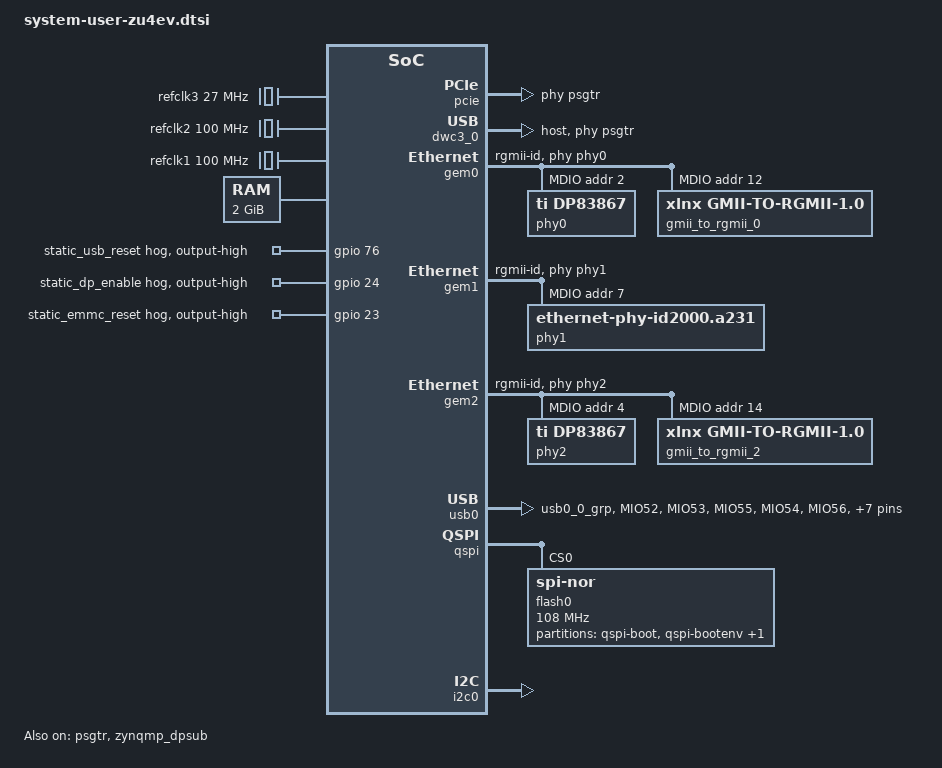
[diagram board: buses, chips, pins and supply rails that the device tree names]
/include/ "system-conf.dtsi"

#include <dt-bindings/phy/phy.h>
#include <dt-bindings/gpio/gpio.h>
#include <dt-bindings/net/ti-dp83867.h>
#include <dt-bindings/pinctrl/pinctrl-zynqmp.h>

/ {
    options {
        u-boot {
            // Mark the node for deletion
            /delete-property/ bootscr-address;
            /delete-property/ compatible;
        };
    };
        refclk3:psgtr_dp_clock {
                compatible = "fixed-clock";
                #clock-cells = <0x00>;
                clock-frequency = <27000000>;
                };
        refclk2:psgtr_usb_clock {
                compatible = "fixed-clock";
                #clock-cells = <0x00>;
                clock-frequency = <100000000>;
                };
        refclk1:psgtr_pcie_clock {
                compatible = "fixed-clock";
                #clock-cells = <0x00>;
                clock-frequency = <100000000>;
                };
	memory@0 {
                device_type = "memory";
                reg = <0x0 0x0 0x0 0x7ff00000>;
        };
};

&psgtr {
        status = "okay";
        clocks = <&refclk1 &refclk1 &refclk2 &refclk3>;
        /* ref clk instances used per lane */
        clock-names = "ref0\0ref1\0ref2\0ref3";
};

/* PCIE instance 0, 1 at lane 0 and 1 refclk 100MHZ */
&pcie {
        status = "okay";
        phys = <&psgtr 0x0 PHY_TYPE_PCIE 0 0>,<&psgtr 0x1 PHY_TYPE_PCIE 1 1>;
};

/* USB  instance 0 lane 2 refclk 100MHZ */
&dwc3_0 {
                status = "okay";
                dr_mode = "host";
                snps,usb3_lpm_capable;
                phy-names = "usb3-phy";
                phys = <&psgtr 0x2 PHY_TYPE_USB3 0x00 2>;
                maximum-speed = "super-speed";
};

/* DP instance 0 lane 3 refclk 27MHZ */
&zynqmp_dpsub {
        status = "okay";
        phy-names = "dp-phy0";
        phys = <&psgtr 0x3 PHY_TYPE_DP 0x00 3>;
};

&axi_epc_0{
        #address-cells = <1>;
        #size-cells = <2>;
        ranges = <0 0 0xa0000000 0x00100000 1 0 0xa0100000 0x00100000>;

        cs2@0,0{
                compatible = "pdnabus_cs2";
                reg = <0 0 0x00100000>;
                interrupt-parent = <&gic>;
                interrupts = <0 92 4>; //only comment out for DW
        };
        // cs3@1,0{
        //      compatible = "pdnabus_cs3";
        //      reg = <1 0 0x00100000>;
        //      interrupt-parent = <&gic>;
        //      interrupts = <0 0x38 4>;
        // };

};

/ {
        //RTC located on PWR board
        pdna_rtc: pdna_rtc@a00D0000 {
                compatible = "uei,pdna-rtc";
                reg = <0x0 0xa00d0000 0x0 0x2100>;
        };
};

&rtc {
        status = "disabled";
};

/* GEM0 + GMII2RGMII wrapper */
&gem0 {
        phy-handle = <&phy0>;
        status = "okay";
        xlnx,has-mdio = <0x1>;

        phy-mode = "rgmii-id";
        gmii2rgmii-phy-handle = <&gmii_to_rgmii_0>;
        xlnx,ptp-enet-clock = <0x0>;
        tsu_clk=<250000000>; //250MHz provided by IOPLL

        psu_ethernet_0_mdio: mdio {
                #address-cells = <1>;
                #size-cells = <0>;
                phy0: ethernet-phy@2 {
                        compatible = "ti,dp83867", "ethernet-phy-ieee802.3-c22";
                        device-type = "ethernet-phy";
                        reg = <0x02>;
                        ti,rx-internal-delay = <DP83867_RGMIIDCTL_2_75_NS>;
                        ti,tx-internal-delay = <DP83867_RGMIIDCTL_2_75_NS>;
                        ti,fifo-depth = <DP83867_PHYCR_FIFO_DEPTH_4_B_NIB>;
                        ti,dp83867-rxctrl-strap-quirk = <1>;
                };
                gmii_to_rgmii_0: gmii_to_rgmii_0@12 {
                        compatible = "xlnx,gmii-to-rgmii-1.0";
                        phy-handle = <&phy0>;
                        reg = <0x0c>;
                };
        };
};

/* GEM1 */
&gem1 {
        status = "okay";
        phy-handle = <&phy1>;
        phy-mode = "rgmii-id";
        xlnx,has-mdio = <0x1>;

        psu_ethernet_1_mdio: mdio {
                #address-cells = <1>;
                #size-cells = <0>;

                phy1: ethernet-phy@7 {
                        compatible = "ethernet-phy-id2000.a231";
                        device-type = "ethernet-phy";
                        reg = <0x07>;
                        ti,rx-internal-delay = <DP83867_RGMIIDCTL_2_75_NS>;
                        ti,tx-internal-delay = <DP83867_RGMIIDCTL_2_75_NS>;
                        ti,fifo-depth = <DP83867_PHYCR_FIFO_DEPTH_4_B_NIB>;
                        ti,dp83867-rxctrl-strap-quirk = <1>;
                };
        };
};

/* GEM2 + GMII2RGMII wrapper */
&gem2 {
        phy-handle = <&phy2>;
        status = "okay";
        xlnx,has-mdio = <0x1>;

        phy-mode = "rgmii-id";
        gmii2rgmii-phy-handle = <&gmii_to_rgmii_2>;
        xlnx,ptp-enet-clock = <0x0>;

        psu_ethernet_2_mdio: mdio {
                #address-cells = <1>;
                #size-cells = <0>;
                phy2: ethernet-phy@4 {
                        compatible = "ti,dp83867", "ethernet-phy-ieee802.3-c22";
                        device-type = "ethernet-phy";
                        reg = <0x04>;
                        ti,rx-internal-delay = <DP83867_RGMIIDCTL_2_75_NS>;
                        ti,tx-internal-delay = <DP83867_RGMIIDCTL_2_75_NS>;
                        ti,fifo-depth = <DP83867_PHYCR_FIFO_DEPTH_4_B_NIB>;
                        ti,dp83867-rxctrl-strap-quirk = <1>;
                };
                gmii_to_rgmii_2: gmii_to_rgmii_2@14 {
                        compatible = "xlnx,gmii-to-rgmii-1.0";
                        phy-handle = <&phy2>;
                        reg = <0x0e>;
                };
        };
};

&pinctrl0 {
        status = "okay";
         pinctrl_usb0_default: usb0-default {
               mux {
                       groups = "usb0_0_grp";
                       function = "usb0";
               };
                           conf {
                       groups = "usb0_0_grp";
                       slew-rate = <SLEW_RATE_SLOW>;
                       io-standard = <IO_STANDARD_LVCMOS18>;
               };

               conf-rx {
                       pins = "MIO52", "MIO53", "MIO55";
                       bias-high-impedance;
               };

               conf-tx {
                       pins = "MIO54", "MIO56", "MIO57", "MIO58", "MIO59",
                               "MIO60", "MIO61", "MIO62", "MIO63";
                       bias-disable;
               };
       };
};

/* USB 2.0 */
&usb0 {
        status = "okay";
        pinctrl-names = "default";
        pinctrl-0 = <&pinctrl_usb0_default>;
};

&gpio{
        status = "okay";

        static_usb_reset{
                gpio-hog;
                gpios = <76 0>;
                output-high;
        };

        static_dp_enable{
                gpio-hog;
                gpios = <24 0>;
                output-high;
        };

        static_emmc_reset{
                gpio-hog;
                gpios = <23 0>;
                output-high;
        };
};

//enable QSPI and create partition
&qspi{
        status = "okay";
        num-cs = <2>;
        flash0: flash@0 {
                compatible = "jedec,spi-nor";
                reg = <0 1>;
                parallel-memories = /bits/ 64 <0x4000000 0x4000000>;
                spi-tx-bus-width=<4>;
                spi-rx-bus-width=<4>;
                spi-max-frequency = <108000000>;
                #address-cells = <1>;
                #size-cells = <1>;
                partitions {
                        compatible = "fixed-partitions";
                        #address-cells = <1>;
                        #size-cells = <1>;
                        partition@qspi-boot {
                                label = "qspi-boot";
                                reg = <0x00000000 0x01e00000>;
                        };
                        partition@qspi-bootenv {
                                label = "qspi-bootenv";
                                reg = <0x01e00000 0x00020000>;
                        };
                        partition@qspi-pdna {
                                label = "qspi-pdna";
                                reg = <0x01e20000 0x00020000>;
                        };
                };
        };
};

&i2c0{
        status = "okay";
};

//add in tpm chip - Disable TPM until further development on it
&spi0{
        status = "disabled";
        compatible = "cdns,spi-r1p6";
        #address-cells = <1>;
        #size-cells = <0>;
        num-cs = <1>;

        tpm_tis@0 {
                compatible = "tis,tpm2-spi", "infineon,slb9670";
                reg = <0>;
                spi-max-frequency = <43000000>;
        };
};
